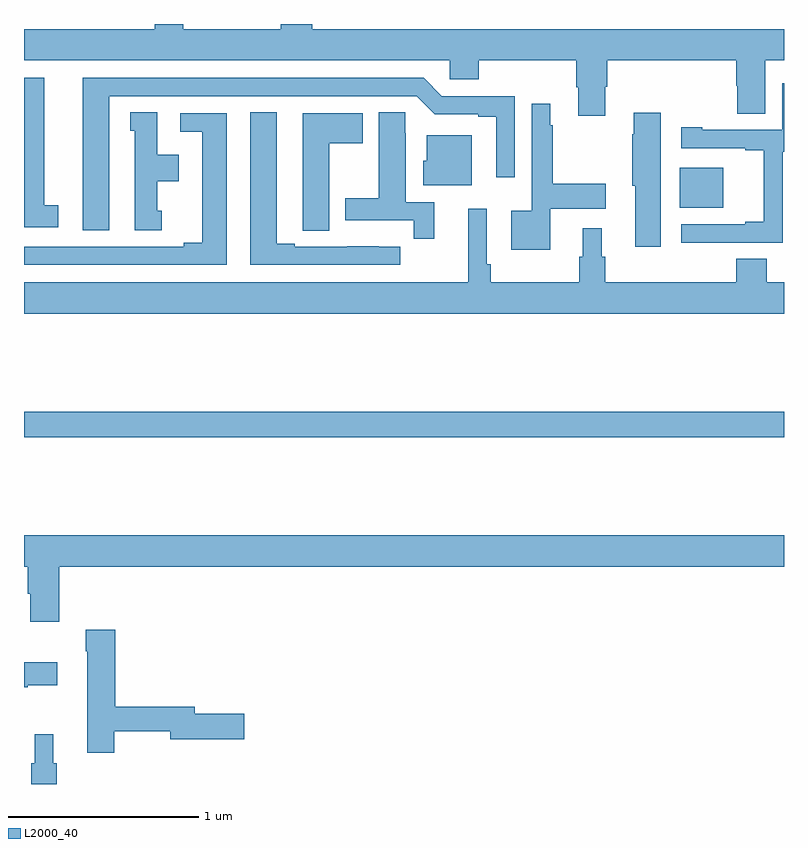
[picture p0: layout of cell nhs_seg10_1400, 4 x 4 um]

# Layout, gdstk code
import gdstk
lib = gdstk.Library(unit=1e-6, precision=1e-09)
def R(c, l, rs):  # rectangles x0, y0, x1, y1
    for r in rs: c.add(gdstk.rectangle(r[:2], r[2:], *l))
def P(c, l, *ps):  # polygons
    for p in ps: c.add(gdstk.Polygon(p, *l))
L2000_40 = (2000, 40)

nhs_seg10_1400 = lib.new_cell('nhs_seg10_1400')
R(nhs_seg10_1400, L2000_40, [(183,1306.324,187,1306.46), (186.452,1307.534,186.679,1307.743)])
P(nhs_seg10_1400, L2000_40, [(186.058,1308.171),(186.071,1308.171),(186.071,1308.308),(186.749,1308.308),(186.749,1308.174),(186.754,1308.174),(186.754,1308.028),(186.901,1308.028),(186.901,1308.308),(187,1308.308),(187,1308.472),(184.517,1308.472),(184.517,1308.5),(184.352,1308.5),(184.352,1308.472),(183.839,1308.472),(183.839,1308.5),(183.687,1308.5),(183.687,1308.472),(183,1308.472),(183,1308.308),(185.241,1308.308),(185.241,1308.21),(185.393,1308.21),(185.393,1308.308),(185.906,1308.308),(185.906,1308.166),(185.918,1308.166),(185.918,1308.018),(186.058,1308.018)],
  [(183.181,1307.546),(183.106,1307.546),(183.106,1308.216),(183,1308.216),(183,1308.12),(183.002,1308.12),(183.002,1307.43),(183.181,1307.43)],
  [(183.448,1308.12),(185.067,1308.12),(185.163,1308.024),(185.39,1308.024),(185.39,1308.012),(185.486,1308.012),(185.486,1307.694),(185.583,1307.694),(185.583,1308.12),(185.199,1308.12),(185.103,1308.216),(183.308,1308.216),(183.308,1307.415),(183.448,1307.415)],
  [(186.993,1307.827),(187,1307.827),(187,1308.189),(186.99,1308.189),(186.99,1307.943),(186.571,1307.943),(186.571,1307.956),(186.459,1307.956),(186.459,1307.847),(186.797,1307.847),(186.797,1307.835),(186.893,1307.835),(186.893,1307.458),(186.797,1307.458),(186.797,1307.445),(186.459,1307.445),(186.459,1307.349),(186.993,1307.349)],
  [(185.77,1307.528),(186.061,1307.528),(186.061,1307.658),(185.782,1307.658),(185.782,1307.966),(185.77,1307.966),(185.77,1308.079),(185.673,1308.079),(185.673,1307.518),(185.564,1307.518),(185.564,1307.312),(185.77,1307.312)],
  [(184.981,1307.328),(184.868,1307.328),(184.868,1307.329),(184.702,1307.329),(184.702,1307.328),(184.426,1307.328),(184.426,1307.343),(184.33,1307.343),(184.33,1308.035),(184.19,1308.035),(184.19,1307.232),(184.981,1307.232)],
  [(185.159,1307.562),(185.008,1307.562),(185.008,1307.924),(185.007,1307.924),(185.007,1308.035),(184.868,1308.035),(184.868,1307.583),(184.691,1307.583),(184.691,1307.466),(185.05,1307.466),(185.05,1307.37),(185.159,1307.37)],
  [(183.724,1307.517),(183.7,1307.517),(183.7,1307.672),(183.814,1307.672),(183.814,1307.812),(183.7,1307.812),(183.7,1308.035),(183.56,1308.035),(183.56,1307.937),(183.584,1307.937),(183.584,1307.415),(183.724,1307.415)],
  [(186.352,1308.034),(186.209,1308.034),(186.209,1307.921),(186.202,1307.921),(186.202,1307.649),(186.218,1307.649),(186.218,1307.328),(186.352,1307.328)],
  [(184.606,1307.872),(184.783,1307.872),(184.783,1308.031),(184.466,1308.031),(184.466,1307.521),(184.467,1307.521),(184.467,1307.413),(184.606,1307.413)],
  [(184.066,1308.03),(183.822,1308.03),(183.822,1307.934),(183.938,1307.934),(183.938,1307.348),(183.842,1307.348),(183.842,1307.328),(183,1307.328),(183,1307.232),(184.066,1307.232)],
  [(185.356,1307.914),(185.12,1307.914),(185.12,1307.781),(185.102,1307.781),(185.102,1307.651),(185.356,1307.651)],
  [(187,1307.14),(186.909,1307.14),(186.909,1307.264),(186.749,1307.264),(186.749,1307.14),(186.059,1307.14),(186.059,1307.274),(186.04,1307.274),(186.04,1307.425),(185.942,1307.425),(185.942,1307.274),(185.923,1307.274),(185.923,1307.14),(185.456,1307.14),(185.456,1307.236),(185.436,1307.236),(185.436,1307.527),(185.339,1307.527),(185.339,1307.14),(183,1307.14),(183,1306.976),(187,1306.976)],
  [(183.185,1305.644),(187,1305.644),(187,1305.808),(183,1305.808),(183,1305.644),(183.02,1305.644),(183.02,1305.502),(183.032,1305.502),(183.032,1305.354),(183.185,1305.354)],
  [(183.474,1304.778),(183.77,1304.778),(183.77,1304.735),(184.159,1304.735),(184.159,1304.87),(183.898,1304.87),(183.898,1304.906),(183.479,1304.906),(183.479,1305.313),(183.325,1305.313),(183.325,1305.2),(183.332,1305.2),(183.332,1304.664),(183.474,1304.664)],
  [(183.021,1305.02),(183.175,1305.02),(183.175,1305.142),(183,1305.142),(183,1305.008),(183.021,1305.008)],
  [(183.173,1304.61),(183.154,1304.61),(183.154,1304.761),(183.056,1304.761),(183.056,1304.61),(183.037,1304.61),(183.037,1304.5),(183.173,1304.5)])

lib.write_gds('nhs_seg10_1400.gds')
